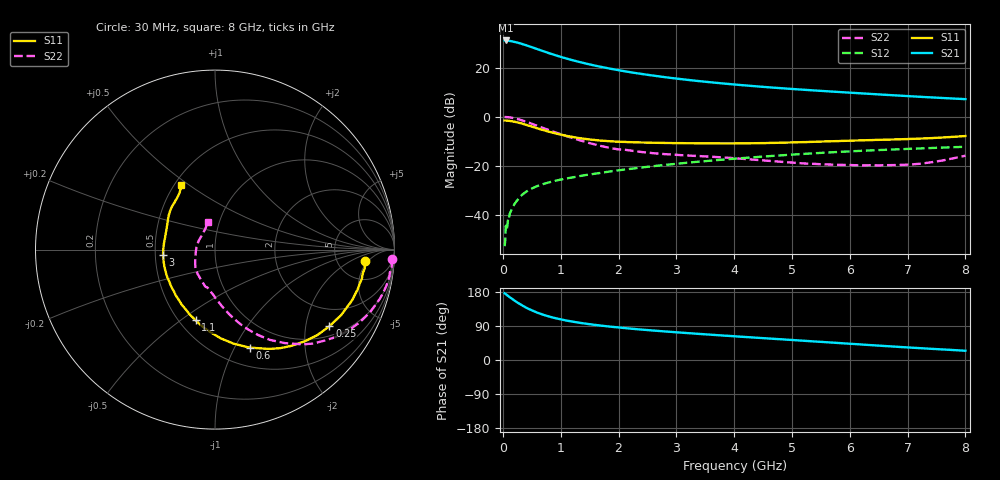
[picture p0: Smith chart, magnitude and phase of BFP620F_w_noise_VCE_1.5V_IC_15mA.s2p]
! Infineon Technologies  Discrete & RF Semiconductors
! BFP620F
! VCE =  1.5 V,  IC =  15 mA
! Common Emitter S-Parameters:  Dec 2014
# GHz  S  MA  R  50
!  f  S11  S21  S12  S22
! GHz  MAG  ANG  MAG  ANG  MAG  ANG  MAG  ANG
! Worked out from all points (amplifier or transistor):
!   95 points, 30 MHz to 8 GHz, reference 50 ohm
!   highest |S21| = 31.1 dB at 50 MHz (marker M1)
!   |S21| within 3 dB of that: start of sweep to 531.2 MHz
!   unconditionally stable (mu >= 1): 3.41 GHz to end of sweep
!   at 300 MHz: K = 0.21, MSG = 31.2 dB, |S12| = -32.5 dB
!   at 3.3 GHz: K = 1.00, MSG = 16.6 dB, |S12| = -18.5 dB
!   at 8 GHz: K = 1.07, MAG = 8.1 dB, |S12| = -12.2 dB
!   lowest NFmin = 0.71 dB at 450 MHz
!   S11 on the Smith chart (normalised r, x): 30 MHz: 10, -4; 250 MHz: 1.31, -2.72; 600 MHz: 0.70, -1.15; 1.1 GHz: 0.60, -0.57; 3 GHz: 0.55, -0.04; 8 GHz: 0.54, +0.47
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0.03  0.8402 -4.2  35.98 176.1  0.0023 88.3  0.986 -3.0
0.05  0.8409 -7.1  35.99 173.7  0.006 97.9  0.9892 -5.3
0.09  0.8295 -12.7  35.63 169.1  0.0085 83.5  0.9804 -10.0
0.15  0.8119 -20.9  34.67 162.3  0.0128 82.2  0.9585 -16.6
0.25  0.7673 -33.8  32.57 151.8  0.0199 74.9  0.9015 -26.8
0.3  0.743 -39.9  31.37 147.1  0.0237 72.7  0.868 -31.5
0.4  0.6855 -51.4  28.84 138.4  0.0294 67.5  0.7926 -39.8
0.5  0.6311 -61.3  26.25 131.1  0.0345 64.2  0.7207 -47.1
0.6  0.5787 -70.6  23.86 124.6  0.039 61.8  0.6508 -53.2
0.7  0.5347 -78.7  21.7 119.3  0.0426 59.6  0.5886 -58.7
0.8  0.4955 -86.3  19.78 114.7  0.0461 58.2  0.5333 -63.2
0.9  0.4611 -93.1  18.12 110.7  0.0494 57.5  0.484 -67.3
1.1  0.408 -105.4  15.39 104.1  0.0552 56.2  0.4025 -74.4
1.4  0.358 -121.3  12.46 96.6  0.0639 55.5  0.3143 -83.4
1.7  0.326 -134.9  10.39 90.7  0.0721 55.1  0.2529 -92.1
2  0.3096 -146.3  8.909 85.9  0.081 54.6  0.2162 -101.0
2.7  0.294 -166.9  6.666 76.6  0.1012 52.5  0.1769 -118.9
3  0.2905 -173.9  6.018 73.1  0.11 51.6  0.1678 -125.0
4.1  0.2869 165.4  4.453 61.6  0.1426 46.9  0.1402 -141.7
5.4  0.3094 148.1  3.434 48.8  0.1807 39.4  0.1095 -170.1
6.7  0.343 132.6  2.769 36.0  0.2141 30.7  0.1033 150.0
8  0.4054 117.5  2.288 24.4  0.2446 22.1  0.1607 103.8
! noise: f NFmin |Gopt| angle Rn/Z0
0.45  0.71  0.15  6  0.2
0.9  0.77  0.14  18  0.18
1.5  0.82  0.13  20  0.13
1.8  0.85  0.13  21  0.11
1.9  0.86  0.09  36  0.14
2.4  0.9  0.08  52  0.12
3.5  0.98  0.06  85  0.13
5.5  1.13  0.11  208  0.08
6  1.17  0.11  235  0.13
